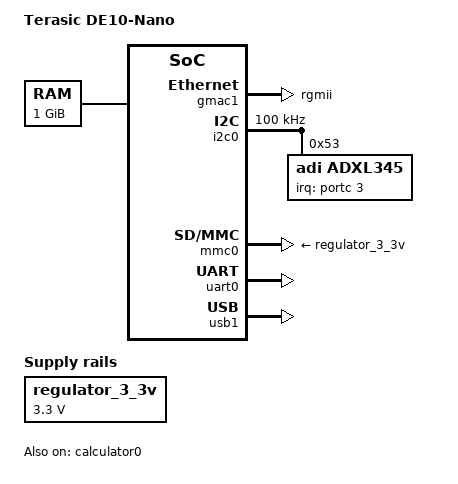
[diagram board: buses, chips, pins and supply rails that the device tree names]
// SPDX-License-Identifier: GPL-2.0
/*
 * Device Tree Source for the Terasic DE10-Nano Board
 *
 * Based on socfpga_cyclone5_de0_nano_soc.dts from linux-socfpga (socfpga-5.15).
 * Customized for the DE10-Nano HPS-FPGA Calculator Accelerator project:
 *   - FPGA bridges enabled (lwhps2fpga + hps2fpga)
 *   - Calculator FPGA IP node on Lightweight HPS-to-FPGA bridge
 *
 * To add a new FPGA IP peripheral, see README.md in this directory.
 */

#include "socfpga_cyclone5.dtsi"

/ {
	model = "Terasic DE10-Nano";
	compatible = "terasic,de10-nano", "altr,socfpga-cyclone5", "altr,socfpga";

	chosen {
		/* uio_pdrv_genirq.of_id: enable DT matching for "generic-uio" compatible nodes.
		 * Without this, uio_pdrv_genirq's OF match table is empty (Linux default)
		 * and the driver won't bind to FPGA IP nodes from the device tree. */
		bootargs = "earlyprintk uio_pdrv_genirq.of_id=generic-uio";
		stdout-path = "serial0:115200n8";
	};

	memory@0 {
		name = "memory";
		device_type = "memory";
		reg = <0x0 0x40000000>; /* 1GB DDR3 */
	};

	aliases {
		ethernet0 = &gmac1;
	};

	regulator_3_3v: 3-3-v-regulator {
		compatible = "regulator-fixed";
		regulator-name = "3.3V";
		regulator-min-microvolt = <3300000>;
		regulator-max-microvolt = <3300000>;
	};
};

/* ============================================================
 * HPS Peripherals
 * ============================================================ */

/* Gigabit Ethernet - HPS EMAC1 via RGMII to KSZ9031RNX PHY */
&gmac1 {
	status = "okay";
	phy-mode = "rgmii";

	txd0-skew-ps = <0>;
	txd1-skew-ps = <0>;
	txd2-skew-ps = <0>;
	txd3-skew-ps = <0>;
	rxd0-skew-ps = <420>;
	rxd1-skew-ps = <420>;
	rxd2-skew-ps = <420>;
	rxd3-skew-ps = <420>;
	txen-skew-ps = <0>;
	txc-skew-ps = <1860>;
	rxdv-skew-ps = <420>;
	rxc-skew-ps = <1680>;

	max-frame-size = <3800>;
};

&gpio0 {
	status = "okay";
};

&gpio1 {
	status = "okay";
};

&gpio2 {
	status = "okay";
};

/* I2C0 - ADXL345 accelerometer on the DE10-Nano board */
&i2c0 {
	status = "okay";
	clock-frequency = <100000>;

	adxl345: adxl345@53 {
		compatible = "adi,adxl345";
		reg = <0x53>;

		interrupt-parent = <&portc>;
		interrupts = <3 2>;
	};
};

/* SD/MMC - micro SD card slot */
&mmc0 {
	vmmc-supply = <&regulator_3_3v>;
	vqmmc-supply = <&regulator_3_3v>;
	status = "okay";
};

/* UART0 - serial console via FTDI USB-UART on mini-USB connector */
&uart0 {
	status = "okay";
};

/* USB1 - mini-USB OTG connector */
&usb1 {
	status = "okay";
};

/* ============================================================
 * FPGA Bridges
 * ============================================================
 * These are disabled by default in socfpga.dtsi.
 * Enable the two HPS-to-FPGA bridges so the ARM can access
 * FPGA peripherals (calculator IP) via the Avalon-MM bus.
 *
 * bridge-enable = <1> tells the kernel driver to enable the
 * bridge at probe time (secondary to U-Boot "bridge enable").
 * ============================================================ */

/* Lightweight HPS-to-FPGA bridge - base 0xFF200000, 2MB window */
&fpga_bridge0 {
	status = "okay";
	bridge-enable = <1>;
};

/* HPS-to-FPGA bridge - base 0xC0000000, 960MB window */
&fpga_bridge1 {
	status = "okay";
	bridge-enable = <1>;
};

/* ============================================================
 * FPGA Peripherals (on Lightweight HPS-to-FPGA bridge)
 * ============================================================
 * Placed directly under &soc (not &base_fpga_region) so the
 * kernel probes them immediately. U-Boot programs the FPGA
 * before Linux boots — no Linux FPGA Manager firmware step.
 *
 * To add a new FPGA IP:
 *   1. Note the QSys base address (e.g., 0x1000)
 *   2. CPU address = 0xFF200000 + QSys base
 *   3. Add a node below inside &soc { ... }
 *   4. Rebuild: cd docker && ./scripts/docker-build.sh
 *
 * Calculator IP - IEEE 754 floating-point accelerator
 *   QSys: calculator_0.s0 at base 0x0 on h2f_lw_axi_master
 *   Registers: CONTROL, OPERAND_A, OPERAND_B, RESULT, STATUS,
 *              INT_ENABLE, ERROR_CODE, VERSION (16 x 32-bit)
 *   Interrupt: f2h_irq0, IRQ 0 → GIC SPI 40
 * ============================================================ */

&soc {
	calculator0: calculator@ff200000 {
		compatible = "generic-uio";
		reg = <0xff200000 0x40>;
		interrupts = <0 40 4>;
		interrupt-parent = <&intc>;
		linux,uio-name = "fpga-calculator";
		status = "okay";
	};
};
